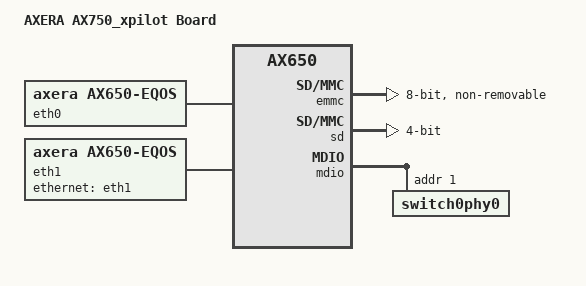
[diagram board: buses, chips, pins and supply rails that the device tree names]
/*
 * (C) Copyright 2020 AXERA Co., Ltd
 *
 * SPDX-License-Identifier:     GPL-2.0+
 */

/dts-v1/;
#include <dt-bindings/pwm/pwm.h>
#include "ax650.dtsi"

/ {
	model = "AXERA AX750_xpilot Board";
	compatible = "AXERA,AX650", "axera,ax650";

	chosen {
		stdout-path = &uart0;
	};

	emmc: mmc@28000000 {
		compatible = "axera,ax650-sdhc";
		reg = <0x0 0x28000000 0x0 0x1000>;
		interrupts = <0 93 4>;
		bus-width = <8>;
		//sdhci-caps-mask = <0x0 0x03000000>; //support 3.3V to configure
		non-removable;
		axera,phy-cnfg = <0x00CC0000>;
		axera,phy-cmdpad-cnfg = <0x0449>;
		axera,phy-datapad-cnfg = <0x0449>;
		axera,phy-clkpad-cnfg = <0x0440>;
		axera,phy-stbpad-cnfg = <0x0451>;
		axera,phy-rstnpad-cnfg = <0x0449>;
		axera,phy-commdl-cnfg = <0x0>;
		axera,phy-sdclkdl-cnfg = <0x0>;
		axera,phy-sdclkdl-dc = <0x7f>;
		axera,phy-smpldl-cnfg = <0x8>;
		axera,phy-atdl-cnfg = <0xC>;
		status = "okay";
	};

	sd: mmc@30E00000 {
		compatible = "axera,ax650-sdhc";
		reg = <0x0 0x30E00000 0x0 0x1000>;
		interrupts = <0 177 4>;
		bus-width = <4>;
		no-1-8-v;
		axera,phy-cnfg = <0x00CD0000>;
		axera,phy-cmdpad-cnfg = <0x044A>;
		axera,phy-datapad-cnfg = <0x044A>;
		axera,phy-clkpad-cnfg = <0x0440>;
		axera,phy-stbpad-cnfg = <0x0452>;
		axera,phy-rstnpad-cnfg = <0x0440>;
		axera,phy-commdl-cnfg = <0x0>;
		axera,phy-sdclkdl-cnfg = <0x0>;
		axera,phy-sdclkdl-dc = <0x7f>;
		axera,phy-smpldl-cnfg = <0x8>;
		axera,phy-atdl-cnfg = <0xC>;
		status = "okay";
	};

	eth0: ethernet@0x10140000 {
		compatible = "axera,ax650-eqos";
		status = "okay";
	};

	eth1: ethernet@0x30800000{
		compatible = "axera,ax650-eqos";
		status = "okay";
		phy-mode = "rgmii";

		fixed-link {
			speed = <1000>;
			full-duplex;
		};

		switch0: switch0@1 {
			compatible = "axera,rtl9068";
			#address-cells = <1>;
			#size-cells = <0>;
			reg = <0x18>;
			beta-reg = <0x19>;

			dsa,member = <0 0>;

			ports {
				#address-cells = <1>;
				#size-cells = <0>;

				switch0port0: port@0 {
					reg = <0>;
					label = "cpu";
					ethernet = <&eth1>;
					phy-mode = "rgmii";
					fixed-link {
						speed = <1000>;
						full-duplex;
					};
				};

				switch0port1: port@1 {
					reg = <1>;
					label = "lan0";
					phy-mode = "rgmii";
					phy-handle = <&switch0phy0>;
					phy-rst-gpio = <&port4a 5 0>; /* GPIO4_A5 */
					beta-phy-rst-gpio = <&port4a 7 0>; /* GPIO4_A7 */
				};
			};

			mdio {
				#address-cells = <1>;
				#size-cells = <0>;

				switch0phy0: switch0phy0@1 {
					reg = <0x01>;
				};
			};
		};

	};

	pcie0_ep: pcie_ep@0 {
		compatible = "axera,axera-pcie-ep";
		status = "okay";
	};
};
